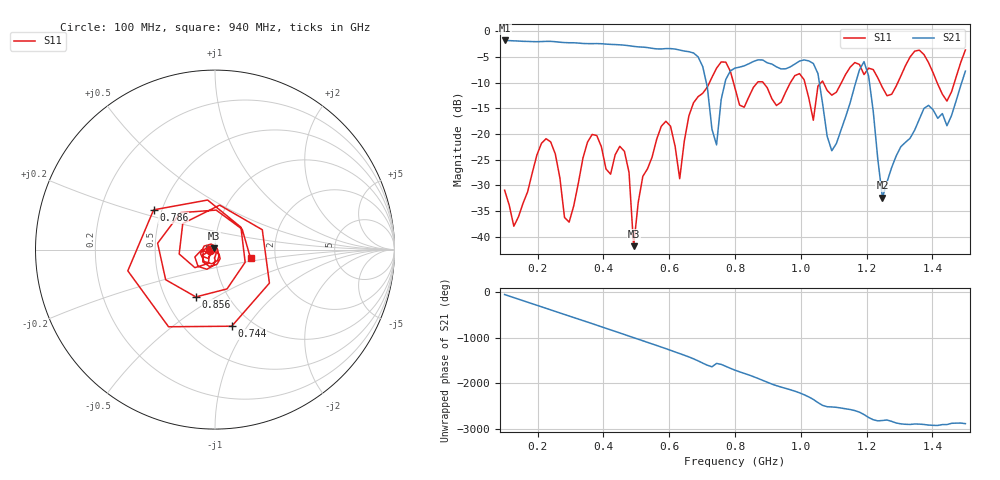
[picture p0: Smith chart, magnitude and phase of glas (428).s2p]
! NanoVNA-App
! Date: 2025-09-25 15:58:48
! Start: 100MHz Stop: 1,5GHz Points: 101
! S-Parameter data: F S11 S21 S12 S22
# Hz S RI R 50
!  Frequency  S11_Real  S11_Imag  S21_Real  S21_Imag  S12_Real  S12_Imag  S22_Real  S22_Imag
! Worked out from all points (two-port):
!   101 points, 100 MHz to 1.5 GHz, reference 50 ohm
!   highest |S21| = -1.80 dB at 100 MHz (marker M1); lowest = -32.4 dB at 1.248 GHz (marker M2)
!   |S21| within 3 dB of the highest: start of sweep to 684.3 MHz
!   lowest |S11| = -41.8 dB at 492 MHz (marker M3), VSWR 1.02, Z = 49.5 + j0.621 ohm
!   |S11| at or under -10 dB: start of sweep to 722.4 MHz; 795.4 MHz to 867.9 MHz (72.55 MHz wide, 8.72 % of centre); 885.8 MHz to 968.4 MHz (82.64 MHz wide, 8.91 % of centre) (the widest 3 of 7)
!   S12 and S22 are empty: the file has one direction only
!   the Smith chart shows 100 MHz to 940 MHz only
!   S11 on the Smith chart (normalised r, x): 100 MHz: 0.95, -0.01; 744 MHz: 0.81, -0.85; 786 MHz: 0.45, +0.24; 856 MHz: 0.71, -0.41; 940 MHz: 1.48, -0.15
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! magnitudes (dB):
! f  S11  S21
! 100 MHz  -30.9  -1.8
! 128 MHz  -38.0  -1.9
! 226 MHz  -20.9  -2.0
! 296 MHz  -37.2  -2.2
! 338 MHz  -24.7  -2.4
! 464 MHz  -23.4  -2.7
! 492 MHz  -41.8  -3.0
! 576 MHz  -18.5  -3.5
! 632 MHz  -28.7  -3.7
! 702 MHz  -12.1  -6.9
! 744 MHz  -7.2  -22.1
! 786 MHz  -7.8  -7.7
! 800 MHz  -11.1  -7.2
! 856 MHz  -10.9  -5.9
! 940 MHz  -13.8  -7.3
! 1.038 GHz  -17.3  -6.3
! 1.094 GHz  -12.4  -23.3
! 1.192 GHz  -8.4  -5.9
! 1.248 GHz  -11.0  -32.4
! 1.276 GHz  -12.3  -26.5
! 1.444 GHz  -13.6  -18.4
! 1.5 GHz  -3.7  -7.8
